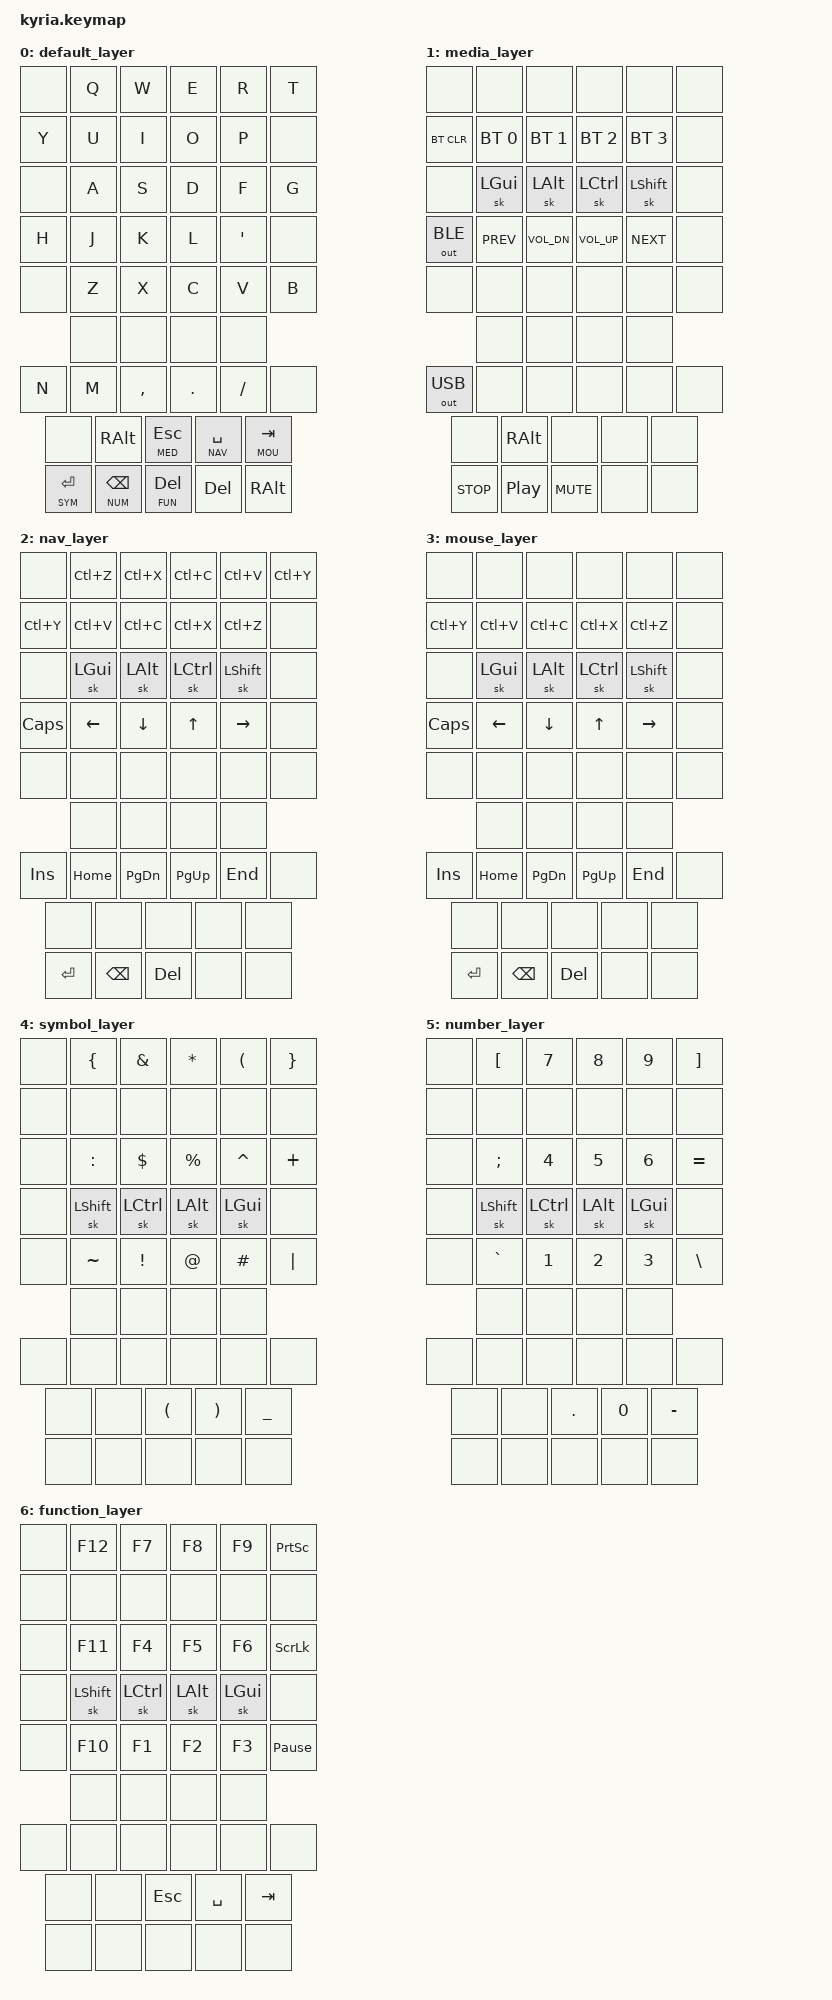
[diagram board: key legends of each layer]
/*
 * Copyright (c) 2020 The ZMK Contributors
 *
 * SPDX-License-Identifier: MIT
 */

#include <behaviors.dtsi>
#include <dt-bindings/zmk/keys.h>
#include <dt-bindings/zmk/outputs.h>
#include <dt-bindings/zmk/bt.h>

#define BASE 0
#define MED 1
#define NAV 2
#define MOU 3
#define SYM 4
#define NUM 5
#define FUN 6

&sk {
	release-after-ms = <2000>;
	quick-release;
};

&lt {
	tapping-term-ms = <150>;
	flavor = "tap-preferred";
};

/ {
	behaviors {
		lt_nav: behavior_layer_tap_nav {
			compatible = "zmk,behavior-hold-tap";
			label = "LAYERTAP_NAV";
			#binding-cells = <2>;
			tapping-term-ms = <150>;
			flavor = "tap-preferred";
			bindings = <&sl_nav>, <&kp>;
		};

		lt_num: behavior_layer_tap_num {
			compatible = "zmk,behavior-hold-tap";
			label = "LAYERTAP_NUM";
			#binding-cells = <2>;
			tapping-term-ms = <150>;
			flavor = "tap-preferred";
			bindings = <&sl_num>, <&kp>;
		};
	};

	macros {
		sl_nav: sl_nav {
			label = "SL_NAV";
			compatible = "zmk,behavior-macro";
			#binding-cells = <0>;
			wait-ms = <0>;
			tap-ms = <0>;
			bindings
				= <&macro_tap &kp K_CANCEL>
				, <&macro_press &mo NAV>
				, <&macro_pause_for_release>
				, <&macro_release &mo NAV>;
		};

		sl_num: sl_num {
			label = "SL_NUM";
			compatible = "zmk,behavior-macro";
			#binding-cells = <0>;
			wait-ms = <0>;
			tap-ms = <0>;
			bindings
				= <&macro_tap &kp K_CANCEL>
				, <&macro_press &mo NUM>
				, <&macro_pause_for_release>
				, <&macro_release &mo NUM>;
		};
	};

	keymap {
		compatible = "zmk,keymap";

		default_layer {
			bindings = <
&none           &kp Q           &kp W           &kp E           &kp R           &kp T
	&kp Y           &kp U           &kp I           &kp O           &kp P           &none
&none           &kp A           &kp S           &kp D           &kp F           &kp G
	&kp H           &kp J     &kp K      &kp L           &kp SQT         &none
&none           &kp Z           &kp X           &kp C           &kp V           &kp B
	&none           &none               &none           &none           
	&kp N           &kp M      &kp COMMA  &kp DOT    &kp FSLH        &none
&none           &kp RALT       &lt MED ESC      &lt_nav NAV SPACE   &lt MOU TAB     
	&lt SYM RET     &lt_num NUM BSPC    &lt FUN DEL      &kp DEL         &kp RALT
			>;
		};

		media_layer {
			bindings = <
&none           &none           &none           &none           &none           &none
	&bt BT_CLR      &bt BT_SEL 0    &bt BT_SEL 1    &bt BT_SEL 2    &bt BT_SEL 3    &none       
&none           &sk LGUI        &sk LALT        &sk LCTL        &sk LSHFT       &none
	&out OUT_BLE    &kp C_PREV      &kp C_VOL_DN    &kp C_VOL_UP    &kp C_NEXT      &none
&none           &none           &none           &none           &none           &none
	&none           &none       &none           &none           
	&out OUT_USB    &none       &none           &none           &none           &none
&none           &kp RALT        &none        &none           &none               
	&kp C_STOP      &kp C_PP        &kp C_MUTE      &none           &none
			>;
		};

		nav_layer {
			bindings = <
&none           &kp LC(Z)       &kp LC(X)       &kp LC(C)       &kp LC(V)       &kp LC(Y)
	&kp LC(Y)       &kp LC(V)       &kp LC(C)       &kp LC(X)       &kp LC(Z)       &none       
&none           &sk LGUI        &sk LALT        &sk LCTL        &sk LSHFT       &none
	&kp CAPS        &kp LEFT        &kp DOWN        &kp UP          &kp RIGHT       &none
&none           &none           &none           &none           &none           &none
    &none           &none           &none           &none           
    &kp INS         &kp HOME        &kp PG_DN       &kp PG_UP       &kp END         &none
&none           &none           &none           &none           &none               
	&kp RET         &kp BSPC        &kp DEL         &none           &none
			>;
		};

		mouse_layer {
			bindings = <
&none           &none           &none           &none           &none           &none
	&kp LC(Y)       &kp LC(V)       &kp LC(C)       &kp LC(X)       &kp LC(Z)       &none       
&none           &sk LGUI        &sk LALT        &sk LCTL        &sk LSHFT       &none
    &kp CAPS        &kp LEFT        &kp DOWN        &kp UP          &kp RIGHT       &none
&none           &none           &none           &none           &none           &none
	&none           &none               &none           &none
	&kp INS         &kp HOME        &kp PG_DN       &kp PG_UP       &kp END         &none
&none           &none           &none           &none           &none
	&kp RET         &kp BSPC        &kp DEL         &none           &none
			>;
		};

		symbol_layer {
			bindings = <
&none           &kp LBRC        &kp AMPS        &kp STAR        &kp LPAR        &kp RBRC
	&none           &none           &none           &none           &none           &none       
&none           &kp COLON       &kp DOLLAR      &kp PERCENT     &kp CARET       &kp PLUS
	&none           &sk LSHFT       &sk LCTL        &sk LALT        &sk LGUI        &none
&none           &kp TILDE       &kp EXCL        &kp AT_SIGN     &kp HASH        &kp PIPE
	&none           &none           &none           &none
	&none           &none           &none           &none           &none           &none
&none           &none           &kp LPAR        &kp RPAR        &kp UNDERSCORE
	&none           &none           &none           &none           &none
			>;
		};

		number_layer {
			bindings = <
&none           &kp LBKT        &kp N7          &kp N8          &kp N9          &kp RBKT
	&none           &none           &none           &none           &none           &none       
&none           &kp SEMI        &kp N4          &kp N5          &kp N6          &kp EQUAL
	&none           &sk LSHFT       &sk LCTL        &sk LALT        &sk LGUI        &none
&none           &kp GRAVE       &kp N1          &kp N2          &kp N3          &kp BSLH
	&none           &none           &none           &none
	&none           &none           &none           &none           &none           &none
&none           &none           &kp DOT         &kp N0          &kp MINUS
	&none           &none           &none           &none           &none
			>;
		};

		function_layer {
			bindings = <
&none           &kp F12         &kp F7          &kp F8          &kp F9          &kp PSCRN
	&none           &none           &none           &none           &none           &none       
&none           &kp F11         &kp F4          &kp F5          &kp F6          &kp SLCK
	&none           &sk LSHFT       &sk LCTL        &sk LALT        &sk LGUI        &none
&none           &kp F10         &kp F1          &kp F2          &kp F3          &kp PAUSE_BREAK
	&none           &none           &none           &none
	&none           &none           &none           &none           &none           &none
&none           &none           &kp ESC         &kp SPACE       &kp TAB
	&none           &none           &none           &none           &none
			>;
		};
	};
};
